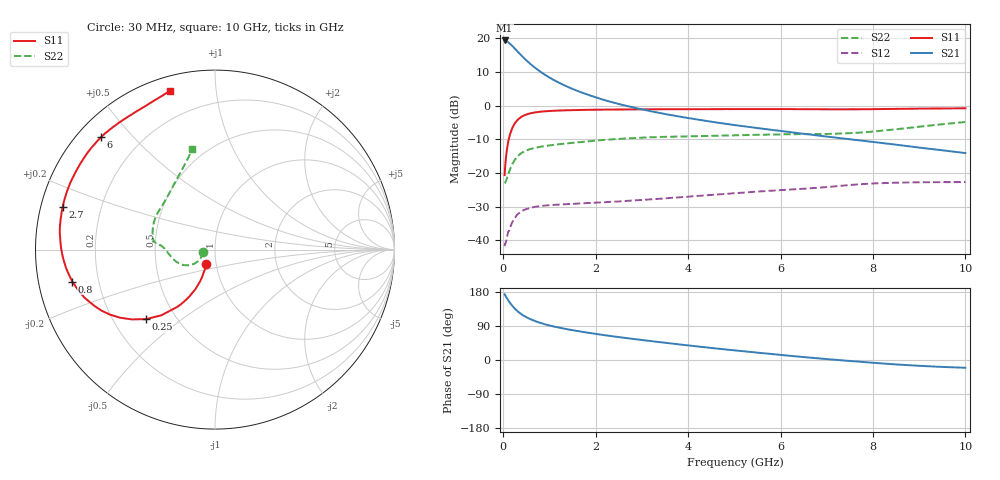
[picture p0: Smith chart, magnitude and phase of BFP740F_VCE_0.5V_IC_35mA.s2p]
! Infineon Technologies  Discrete & RF Semiconductors
! BFP740F
! VCE =  0.5 V,  IC =  35 mA
! Common Emitter S-Parameters:  Oct 2012
# GHz  S  MA  R  50
!  f  S11  S21  S12  S22
! GHz  MAG  ANG  MAG  ANG  MAG  ANG  MAG  ANG
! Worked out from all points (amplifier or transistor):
!   99 points, 30 MHz to 10 GHz, reference 50 ohm
!   highest |S21| = 19.4 dB at 30 MHz (marker M1)
!   |S21| within 3 dB of that: start of sweep to 291.1 MHz
!   unconditionally stable (mu >= 1): start of sweep to end of sweep
!   at 350 MHz: K = 1.90, MAG = 18.2 dB, |S12| = -31.8 dB
!   at 3.5 GHz: K = 3.03, MAG = 4.8 dB, |S12| = -27.5 dB
!   at 10 GHz: K = 4.09, MAG = -4.8 dB, |S12| = -22.7 dB
!   S11 on the Smith chart (normalised r, x): 30 MHz: 0.90, -0.15; 250 MHz: 0.34, -0.37; 800 MHz: 0.10, -0.11; 2.7 GHz: 0.06, +0.14; 6 GHz: 0.07, +0.41; 10 GHz: 0.07, +0.75
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0.03  0.0932 -120.6  9.33 173.5  0.0082 14.0  0.0706 -169.3
0.07  0.1969 -115.2  9.112 165.2  0.0101 29.8  0.0806 -155.6
0.1  0.2705 -117.6  8.844 159.3  0.0127 36.0  0.0924 -149.8
0.13  0.3393 -120.9  8.524 153.8  0.014 40.4  0.1053 -146.8
0.15  0.3816 -123.3  8.29 150.3  0.0157 40.4  0.1147 -145.6
0.2  0.4736 -129.3  7.683 142.5  0.0188 39.0  0.1373 -145.5
0.25  0.5469 -134.9  7.079 135.7  0.0214 38.6  0.1568 -147.2
0.35  0.6515 -144.4  5.984 124.8  0.0256 34.2  0.1876 -152.4
0.4  0.6887 -148.3  5.515 120.3  0.0273 31.9  0.1994 -154.8
0.5  0.7402 -154.8  4.729 113.0  0.0291 28.5  0.2164 -159.6
0.6  0.7753 -159.8  4.107 107.1  0.0305 25.9  0.2289 -163.5
0.8  0.815 -167.4  3.219 98.1  0.0324 22.7  0.2456 -169.9
1  0.8357 -172.8  2.625 91.2  0.0333 20.8  0.2578 -174.3
1.2  0.8483 -177.0  2.208 85.7  0.034 19.9  0.2679 -177.5
1.7  0.8662 175.2  1.571 74.6  0.0355 20.0  0.2892 177.2
2.7  0.8815 164.5  0.983 57.3  0.0387 22.6  0.3269 173.8
3.4  0.8863 158.0  0.777 46.9  0.0416 24.5  0.344 172.4
5.1  0.8917 142.9  0.506 24.3  0.0507 26.2  0.3647 162.0
6  0.8921 135.3  0.423 13.5  0.0558 25.4  0.3749 153.7
6.7  0.8868 128.4  0.369 5.6  0.0598 24.8  0.3798 146.0
8.5  0.8982 111.7  0.264 -11.7  0.072 16.8  0.4472 118.3
10  0.9169 105.9  0.198 -20.5  0.0735 10.9  0.5734 102.9
